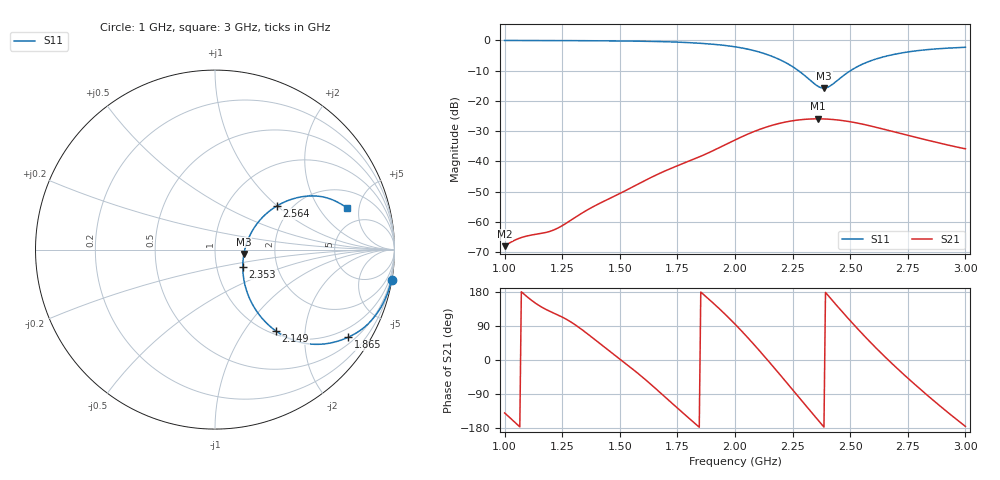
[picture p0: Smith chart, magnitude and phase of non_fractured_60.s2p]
! TOUCHSTONE file generated by CST MICROWAVE STUDIO
! Date and time: Sat Mar  8 13:54:23 2025
! Project name: non_fractured.cst
! Parameters = {B=2.5; D=160; F=20; Feed=2.85625; L=100; M=5; R=0.384908; S=2; Theta=270; length=57.125; wave=114.25}
! Header version: 2024
! Port assignment regex: !\s*Touchstone port\s*([0-9]+)\s*=\s*(CST MWS port|CST DES external port|CST DES block port)\s*(.+)\s* \(\"(.*)\"\)(\s*mode\s*([0-9]+))?.*
! Touchstone port assignment:
! Touchstone port 1 = CST MWS port 1 ("")
! Touchstone port 2 = CST MWS port 2 ("")
# GHz S DB R 50
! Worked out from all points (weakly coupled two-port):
!   304 points, 1 GHz to 3 GHz, reference 50 ohm
!   highest |S21| = -25.92 dB at 2.36 GHz (marker M1); lowest = -68.0 dB at 1 GHz (marker M2)
!   lowest |S11| = -15.8 dB at 2.386 GHz (marker M3), VSWR 1.39, Z = 69.1 - j3.56 ohm
!   |S11| at or under -10 dB: 2.275 GHz to 2.501 GHz (225.9 MHz wide, 9.46 % of centre)
!   S12 and S22 are empty: the file has one direction only
!   S11 on the Smith chart (normalised r, x): 1 GHz: 0, -12; 1.865 GHz: 0.69, -3.19; 2.149 GHz: 1.06, -1.42; 2.353 GHz: 1.34, -0.26; 2.564 GHz: 1.68, +1.00; 3 GHz: 3.25, +3.73
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1  -0.02 -9.7  -68.00 -139.7  -200.00 0.0  -200.00 0.0
1.033  -0.02 -10.2  -66.44 -158.0  -200.00 0.0  -200.00 0.0
1.07261  -0.03 -10.7  -65.16 180.0  -200.00 0.0  -200.00 0.0
1.17822  -0.04 -12.3  -63.50 133.8  -200.00 0.0  -200.00 0.0
1.21782  -0.05 -13.0  -62.50 122.6  -200.00 0.0  -200.00 0.0
1.33663  -0.09 -15.2  -57.04 79.7  -200.00 0.0  -200.00 0.0
1.66667  -0.38 -24.1  -44.16 -81.4  -200.00 0.0  -200.00 0.0
1.86469  -1.03 -33.4  -37.85 172.2  -200.00 0.0  -200.00 0.0
2.0033  -2.15 -42.5  -32.78 92.7  -200.00 0.0  -200.00 0.0
2.07591  -3.25 -48.1  -30.32 45.2  -200.00 0.0  -200.00 0.0
2.14851  -4.92 -53.1  -28.34 -5.2  -200.00 0.0  -200.00 0.0
2.24752  -8.56 -55.7  -26.59 -76.6  -200.00 0.0  -200.00 0.0
2.33993  -14.05 -38.3  -25.94 -143.8  -200.00 0.0  -200.00 0.0
2.35314  -14.82 -31.5  -25.92 -153.3  -200.00 0.0  -200.00 0.0
2.35974  -15.15 -27.5  -25.92 -158.1  -200.00 0.0  -200.00 0.0
2.38614  -15.77 -8.9  -25.96 -177.0  -200.00 0.0  -200.00 0.0
2.41254  -15.07 9.3  -26.07 164.2  -200.00 0.0  -200.00 0.0
2.47855  -11.19 31.7  -26.62 118.3  -200.00 0.0  -200.00 0.0
2.56436  -7.48 35.2  -27.85 61.6  -200.00 0.0  -200.00 0.0
2.66997  -4.96 31.4  -29.82 -2.8  -200.00 0.0  -200.00 0.0
2.82838  -3.09 23.8  -32.85 -89.7  -200.00 0.0  -200.00 0.0
3  -2.27 17.6  -35.82 -175.2  -200.00 0.0  -200.00 0.0
